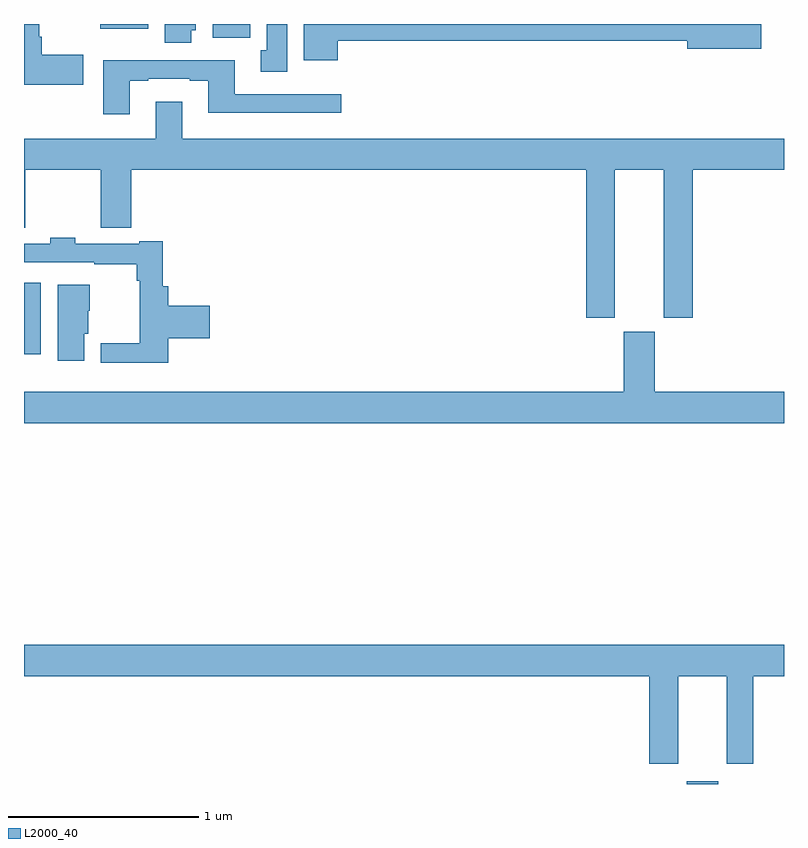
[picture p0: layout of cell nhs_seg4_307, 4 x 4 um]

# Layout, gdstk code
import gdstk
lib = gdstk.Library(unit=1e-6, precision=1e-09)
def R(c, l, rs):  # rectangles x0, y0, x1, y1
    for r in rs: c.add(gdstk.rectangle(r[:2], r[2:], *l))
def P(c, l, *ps):  # polygons
    for p in ps: c.add(gdstk.Polygon(p, *l))
L2000_40 = (2000, 40)

nhs_seg4_307 = lib.new_cell('nhs_seg4_307')
R(nhs_seg4_307, L2000_40, [(128.489,814.9,128.653,814.915), (125,817.161,125.089,817.537), (125.993,818.828,126.19,818.9), (125.402,818.876,125.653,818.9)])
P(nhs_seg4_307, L2000_40, [(126.652,818.812),(128.492,818.812),(128.492,818.77),(128.881,818.77),(128.881,818.9),(126.473,818.9),(126.473,818.708),(126.652,818.708)],
  [(125.881,818.868),(125.905,818.868),(125.905,818.9),(125.741,818.9),(125.741,818.801),(125.881,818.801)],
  [(125.311,818.737),(125.093,818.737),(125.093,818.833),(125.08,818.833),(125.08,818.9),(125,818.9),(125,818.579),(125.311,818.579)],
  [(126.385,818.9),(126.278,818.9),(126.278,818.762),(126.245,818.762),(126.245,818.649),(126.385,818.649)],
  [(125.557,818.601),(125.653,818.601),(125.653,818.613),(125.873,818.613),(125.873,818.601),(125.969,818.601),(125.969,818.432),(126.67,818.432),(126.67,818.529),(126.109,818.529),(126.109,818.709),(125.649,818.709),(125.649,818.71),(125.417,818.71),(125.417,818.424),(125.557,818.424)],
  [(128.11,818.132),(128.366,818.132),(128.366,817.353),(128.519,817.353),(128.519,818.132),(129,818.132),(129,818.296),(125.833,818.296),(125.833,818.491),(125.693,818.491),(125.693,818.296),(125,818.296),(125,817.828),(125.006,817.828),(125.006,818.132),(125.404,818.132),(125.404,817.828),(125.564,817.828),(125.564,818.132),(127.958,818.132),(127.958,817.353),(128.11,817.353)],
  [(125.759,817.247),(125.977,817.247),(125.977,817.418),(125.759,817.418),(125.759,817.519),(125.729,817.519),(125.729,817.756),(125.606,817.756),(125.606,817.743),(125.271,817.743),(125.271,817.776),(125.139,817.776),(125.139,817.743),(125,817.743),(125,817.647),(125.371,817.647),(125.371,817.635),(125.593,817.635),(125.593,817.55),(125.608,817.55),(125.608,817.22),(125.403,817.22),(125.403,817.118),(125.759,817.118)],
  [(125.317,817.269),(125.338,817.269),(125.338,817.392),(125.347,817.392),(125.347,817.528),(125.177,817.528),(125.177,817.128),(125.317,817.128)],
  [(129,816.964),(128.32,816.964),(128.32,817.281),(128.156,817.281),(128.156,816.964),(125,816.964),(125,816.8),(129,816.8)],
  [(128.443,815.468),(128.699,815.468),(128.699,815.007),(128.839,815.007),(128.839,815.468),(129,815.468),(129,815.632),(125,815.632),(125,815.468),(128.291,815.468),(128.291,815.007),(128.443,815.007)])

lib.write_gds('nhs_seg4_307.gds')
